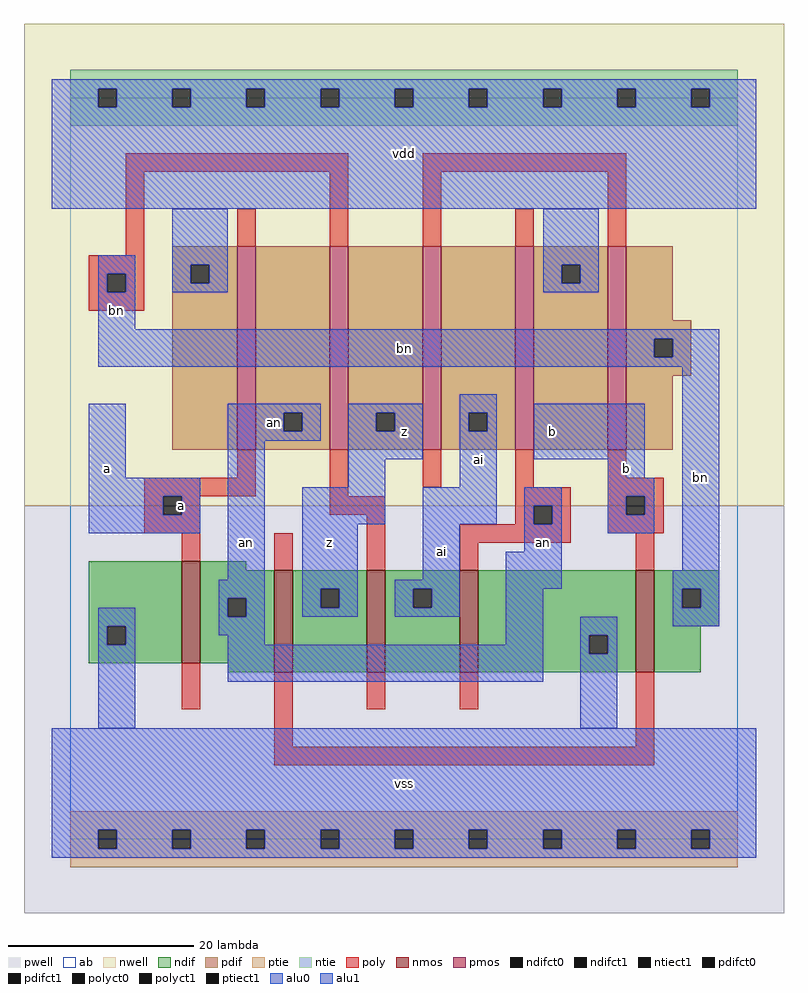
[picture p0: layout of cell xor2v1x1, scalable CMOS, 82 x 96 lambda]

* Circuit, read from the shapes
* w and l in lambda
.subckt xor2v1x1 a ai an b bn vdd vss z
M1 an a vss vss nfet w=11 l=2
M2 z b an vss nfet w=11 l=2
M3 ai bn z vss nfet w=11 l=2
M4 vss an ai vss nfet w=11 l=2
M5 bn b vss vss nfet w=11 l=2
M6 an a vdd vdd pfet w=22 l=2
M7 z bn an vdd pfet w=22 l=2
M8 ai b z vdd pfet w=22 l=2
M9 vdd an ai vdd pfet w=22 l=2
M10 bn b vdd vdd pfet w=22 l=2
.ends

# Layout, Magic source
magic
tech scmos
<< ab >>
rect 0 0 72 80
<< nwell >>
rect -5 36 77 88
<< pwell >>
rect -5 -8 77 36
<< poly >>
rect 6 72 30 74
rect 6 63 8 72
rect 18 64 20 68
rect 28 64 30 72
rect 38 72 60 74
rect 38 64 40 72
rect 48 64 50 68
rect 58 64 60 72
rect 2 61 8 63
rect 2 59 4 61
rect 6 59 8 61
rect 2 57 8 59
rect 18 39 20 42
rect 8 37 20 39
rect 28 37 30 42
rect 38 38 40 42
rect 48 38 50 42
rect 58 39 60 42
rect 8 35 10 37
rect 12 35 14 37
rect 28 35 34 37
rect 8 33 14 35
rect 12 30 14 33
rect 22 29 24 33
rect 32 29 34 35
rect 48 36 54 38
rect 48 34 50 36
rect 52 34 54 36
rect 42 32 54 34
rect 58 37 64 39
rect 58 35 60 37
rect 62 35 64 37
rect 58 33 64 35
rect 42 29 44 32
rect 61 29 63 33
rect 12 14 14 19
rect 22 10 24 18
rect 32 14 34 18
rect 42 14 44 18
rect 61 10 63 18
rect 22 8 63 10
<< ndif >>
rect 2 23 12 30
rect 2 21 4 23
rect 6 21 12 23
rect 2 19 12 21
rect 14 29 19 30
rect 14 26 22 29
rect 14 24 17 26
rect 19 24 22 26
rect 14 19 22 24
rect 17 18 22 19
rect 24 27 32 29
rect 24 25 27 27
rect 29 25 32 27
rect 24 18 32 25
rect 34 27 42 29
rect 34 25 37 27
rect 39 25 42 27
rect 34 18 42 25
rect 44 22 61 29
rect 44 20 56 22
rect 58 20 61 22
rect 44 18 61 20
rect 63 27 70 29
rect 63 25 66 27
rect 68 25 70 27
rect 63 23 70 25
rect 63 18 68 23
<< pdif >>
rect 11 62 18 64
rect 11 60 13 62
rect 15 60 18 62
rect 11 42 18 60
rect 20 46 28 64
rect 20 44 23 46
rect 25 44 28 46
rect 20 42 28 44
rect 30 46 38 64
rect 30 44 33 46
rect 35 44 38 46
rect 30 42 38 44
rect 40 46 48 64
rect 40 44 43 46
rect 45 44 48 46
rect 40 42 48 44
rect 50 62 58 64
rect 50 60 53 62
rect 55 60 58 62
rect 50 42 58 60
rect 60 56 65 64
rect 60 54 67 56
rect 60 52 63 54
rect 65 52 67 54
rect 60 50 67 52
rect 60 42 65 50
<< alu1 >>
rect -2 81 74 82
rect -2 79 3 81
rect 5 79 11 81
rect 13 79 19 81
rect 21 79 27 81
rect 29 79 35 81
rect 37 79 43 81
rect 45 79 51 81
rect 53 79 59 81
rect 61 79 67 81
rect 69 79 74 81
rect -2 68 74 79
rect 2 39 6 47
rect 30 46 38 47
rect 30 44 33 46
rect 35 44 38 46
rect 2 37 14 39
rect 2 35 10 37
rect 12 35 14 37
rect 2 33 14 35
rect 30 41 38 44
rect 30 38 34 41
rect 50 41 62 47
rect 58 39 62 41
rect 25 34 34 38
rect 25 27 31 34
rect 58 37 63 39
rect 58 35 60 37
rect 62 35 63 37
rect 58 33 63 35
rect 25 25 27 27
rect 29 25 31 27
rect 25 24 31 25
rect -2 1 74 12
rect -2 -1 3 1
rect 5 -1 11 1
rect 13 -1 19 1
rect 21 -1 27 1
rect 29 -1 35 1
rect 37 -1 43 1
rect 45 -1 51 1
rect 53 -1 59 1
rect 61 -1 67 1
rect 69 -1 74 1
rect -2 -2 74 -1
<< ptie >>
rect 0 1 72 3
rect 0 -1 3 1
rect 5 -1 11 1
rect 13 -1 19 1
rect 21 -1 27 1
rect 29 -1 35 1
rect 37 -1 43 1
rect 45 -1 51 1
rect 53 -1 59 1
rect 61 -1 67 1
rect 69 -1 72 1
rect 0 -3 72 -1
<< ntie >>
rect 0 81 72 83
rect 0 79 3 81
rect 5 79 11 81
rect 13 79 19 81
rect 21 79 27 81
rect 29 79 35 81
rect 37 79 43 81
rect 45 79 51 81
rect 53 79 59 81
rect 61 79 67 81
rect 69 79 72 81
rect 0 77 72 79
<< nmos >>
rect 12 19 14 30
rect 22 18 24 29
rect 32 18 34 29
rect 42 18 44 29
rect 61 18 63 29
<< pmos >>
rect 18 42 20 64
rect 28 42 30 64
rect 38 42 40 64
rect 48 42 50 64
rect 58 42 60 64
<< polyct0 >>
rect 4 59 6 61
rect 50 34 52 36
<< polyct1 >>
rect 10 35 12 37
rect 60 35 62 37
<< ndifct0 >>
rect 4 21 6 23
rect 17 24 19 26
rect 37 25 39 27
rect 56 20 58 22
rect 66 25 68 27
<< ndifct1 >>
rect 27 25 29 27
<< ntiect1 >>
rect 3 79 5 81
rect 11 79 13 81
rect 19 79 21 81
rect 27 79 29 81
rect 35 79 37 81
rect 43 79 45 81
rect 51 79 53 81
rect 59 79 61 81
rect 67 79 69 81
<< ptiect1 >>
rect 3 -1 5 1
rect 11 -1 13 1
rect 19 -1 21 1
rect 27 -1 29 1
rect 35 -1 37 1
rect 43 -1 45 1
rect 51 -1 53 1
rect 59 -1 61 1
rect 67 -1 69 1
<< pdifct0 >>
rect 13 60 15 62
rect 23 44 25 46
rect 43 44 45 46
rect 53 60 55 62
rect 63 52 65 54
<< pdifct1 >>
rect 33 44 35 46
<< alu0 >>
rect 3 61 7 63
rect 3 59 4 61
rect 6 59 7 61
rect 11 62 17 68
rect 11 60 13 62
rect 15 60 17 62
rect 11 59 17 60
rect 51 62 57 68
rect 51 60 53 62
rect 55 60 57 62
rect 51 59 57 60
rect 3 55 7 59
rect 3 54 70 55
rect 3 52 63 54
rect 65 52 70 54
rect 3 51 70 52
rect 17 46 27 47
rect 17 44 23 46
rect 25 44 27 46
rect 17 43 27 44
rect 17 28 21 43
rect 42 46 46 48
rect 42 44 43 46
rect 45 44 46 46
rect 42 38 46 44
rect 16 26 21 28
rect 3 23 7 25
rect 3 21 4 23
rect 6 21 7 23
rect 16 24 17 26
rect 19 24 21 26
rect 38 34 46 38
rect 49 36 53 38
rect 49 34 50 36
rect 52 34 53 36
rect 38 28 42 34
rect 49 31 53 34
rect 35 27 42 28
rect 35 25 37 27
rect 39 25 42 27
rect 35 24 42 25
rect 47 27 53 31
rect 66 29 70 51
rect 65 27 70 29
rect 16 22 21 24
rect 3 12 7 21
rect 17 21 21 22
rect 47 21 51 27
rect 65 25 66 27
rect 68 25 70 27
rect 17 17 51 21
rect 55 22 59 24
rect 65 23 70 25
rect 55 20 56 22
rect 58 20 59 22
rect 55 12 59 20
<< labels >>
rlabel alu0 5 57 5 57 6 bn
rlabel alu0 19 32 19 32 6 an
rlabel alu0 22 45 22 45 6 an
rlabel alu0 40 31 40 31 6 ai
rlabel alu0 51 32 51 32 6 an
rlabel alu0 44 41 44 41 6 ai
rlabel alu0 68 39 68 39 6 bn
rlabel alu0 36 53 36 53 6 bn
rlabel alu1 12 36 12 36 6 a
rlabel alu1 4 40 4 40 6 a
rlabel alu1 28 32 28 32 6 z
rlabel alu1 36 6 36 6 6 vss
rlabel alu1 52 44 52 44 6 b
rlabel alu1 36 44 36 44 6 z
rlabel alu1 36 74 36 74 6 vdd
rlabel alu1 60 40 60 40 6 b
<< end >>
